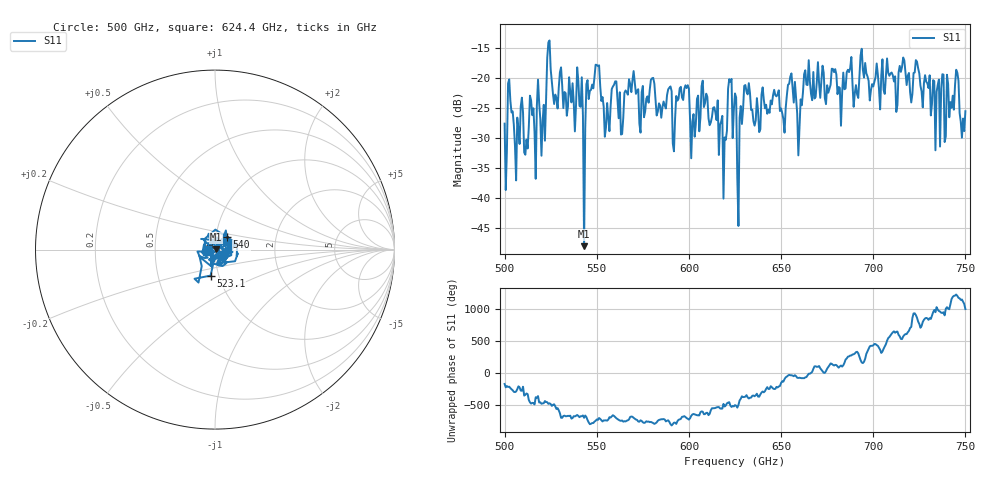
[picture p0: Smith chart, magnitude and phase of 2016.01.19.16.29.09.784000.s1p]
!Created with skrf (http://scikit-rf.org).
# GHz S RI R 50.0
!freq ReS11 ImS11
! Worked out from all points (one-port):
!   401 points, 500 GHz to 750 GHz, reference 50 ohm
!   lowest |S11| = -48.0 dB at 543.1 GHz (marker M1), VSWR 1.01, Z = 50.4 + j0.116 ohm
!   |S11| at or under -10 dB: start of sweep to end of sweep
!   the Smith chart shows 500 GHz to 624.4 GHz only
!   S11 on the Smith chart (normalised r, x): 500 GHz: 0.92, -0.01; 523.1 GHz: 0.91, -0.27; 540 GHz: 1.13, +0.16; 624.4 GHz: 0.90, -0.03
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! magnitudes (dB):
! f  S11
! 500 GHz  -27.6
! 503.1 GHz  -23.8
! 506.9 GHz  -26.6
! 520.6 GHz  -27.1
! 523.1 GHz  -16.7
! 531.2 GHz  -21.3
! 540 GHz  -20.5
! 543.1 GHz  -48.0
! 550 GHz  -17.8
! 555.6 GHz  -24.2
! 559.4 GHz  -21.1
! 562.5 GHz  -22.4
! 568.8 GHz  -22.3
! 593.8 GHz  -23.8
! 598.8 GHz  -21.7
! 602.5 GHz  -26.0
! 608.1 GHz  -24.8
! 619.4 GHz  -29.9
! 621.9 GHz  -20.2
! 624.4 GHz  -25.3
! 625 GHz  -22.6
! 627.5 GHz  -26.6
! 656.2 GHz  -21.7
! 660 GHz  -28.3
! 663.8 GHz  -21.1
! 687.5 GHz  -18.3
! 718.8 GHz  -19.6
! 750 GHz  -25.5
